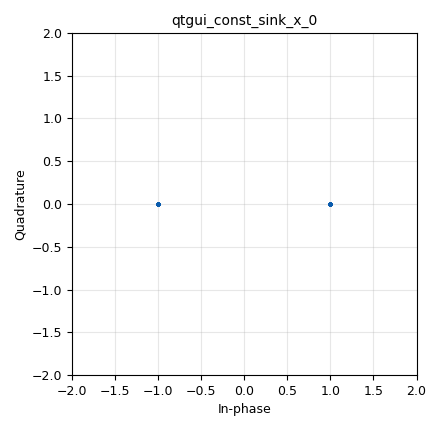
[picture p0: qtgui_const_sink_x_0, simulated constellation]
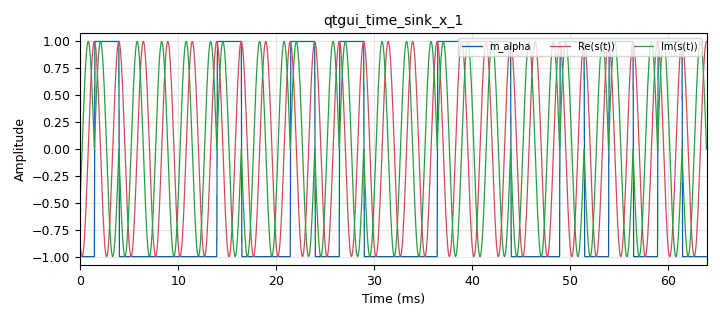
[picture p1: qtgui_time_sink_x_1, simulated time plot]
options:
  parameters:
    author: clsor
    generate_options: qt_gui
    id: BFSKHackRF_Tx_NONcoherent
    output_language: python
    title: Not titled yet
  states: {}

blocks:
- name: M
  id: variable
  parameters:
    value: '2'
  states: {}
- name: Pn
  id: variable_qtgui_range
  parameters:
    gui_hint: 2,0,1,1
    label: Potentiel of the noise
    start: '0'
    step: 1/100
    stop: '1'
    value: '0'
  states: {state: disabled}
- name: Rb
  id: variable
  parameters:
    value: '400'
  states: {}
- name: Rs
  id: variable
  parameters:
    value: Rb/bps
  states: {}
- name: Sps
  id: variable
  parameters:
    value: '40'
  states: {}
- name: bps
  id: variable
  parameters:
    value: int(math.log(M,2))
  states: {}
- name: bw
  id: variable
  parameters:
    value: (2**m)*Rb/m
  states: {}
- name: center_freq
  id: variable
  parameters:
    value: '100000'
  states: {}
- name: eb_n0_dB
  id: variable
  parameters:
    value: '10'
  states: {}
- name: fsk_deviation
  id: variable
  parameters:
    value: bw/2
  states: {}
- name: m
  id: variable
  parameters:
    value: '1'
  states: {}
- name: ndisp
  id: variable
  parameters:
    value: '2000'
  states: {}
- name: num_samples
  id: variable
  parameters:
    value: '100000'
  states: {}
- name: samp_rate
  id: variable
  parameters:
    value: Sps*Rb
  states: {}
- name: sig_power
  id: variable
  parameters:
    value: '1'
  states: {}
- name: symbol_rate
  id: variable
  parameters:
    value: samp_rate/Sps
  states: {}
- name: analog_frequency_modulator_fc_0
  id: analog_frequency_modulator_fc
  parameters:
    sensitivity: (2*math.pi*fsk_deviation)/samp_rate
  states: {}
- name: analog_noise_source_x_0
  id: analog_noise_source_x
  parameters:
    amp: math.sqrt( sig_power/ (10**(eb_n0_dB/10)) * samp_rate/symbol_rate )
    noise_type: analog.GR_GAUSSIAN
    seed: '0'
    type: complex
  states: {}
- name: analog_random_source_x_0
  id: analog_random_source_x
  parameters:
    comment: Bits Generation
    max: '2'
    min: '0'
    num_samps: num_samples
    repeat: 'False'
    type: byte
  states: {}
- name: blocks_add_const_vxx_0
  id: blocks_add_const_vxx
  parameters:
    const: '-1'
    type: float
  states: {}
- name: blocks_add_xx_1
  id: blocks_add_xx
  parameters:
    type: complex
  states: {}
- name: blocks_char_to_float_0
  id: blocks_char_to_float
  parameters:
    scale: '0.5'
  states: {}
- name: blocks_complex_to_float_0
  id: blocks_complex_to_float
  parameters: {}
  states: {}
- name: blocks_float_to_complex_0
  id: blocks_float_to_complex
  parameters: {}
  states: {}
- name: blocks_null_sink_0
  id: blocks_null_sink
  parameters:
    type: complex
  states: {state: disabled}
- name: blocks_repeat_0
  id: blocks_repeat
  parameters:
    interp: Sps
    type: float
  states: {}
- name: blocks_stream_mux_1
  id: blocks_stream_mux
  parameters:
    lengths: '[16,num_samples]'
    type: byte
  states: {}
- name: blocks_throttle2_0
  id: blocks_throttle2
  parameters:
    samples_per_second: samp_rate
    type: complex
  states: {}
- name: blocks_vector_source_x_0
  id: blocks_vector_source_x
  parameters:
    repeat: 'False'
    type: byte
    vector: (1,0, 1, 0, 1, 0, 1, 0, 1,0 ,1,0,  1,0, 1,0)
  states: {}
- name: import_0
  id: import
  parameters:
    imports: import math
  states: {}
- name: qtgui_const_sink_x_0
  id: qtgui_const_sink_x
  parameters:
    size: '1024'
    type: complex
  states: {}
- name: qtgui_time_sink_x_1
  id: qtgui_time_sink_x
  parameters:
    label1: m_alpha
    label2: Re(s(t))
    label3: Im(s(t))
    nconnections: '3'
    size: '1024'
    srate: samp_rate
    type: float
  states: {}
- name: soapy_hackrf_sink_1
  id: soapy_hackrf_sink
  parameters:
    center_freq: center_freq
    samp_rate: samp_rate
    type: fc32
  states: {}
- name: virtual_sink_0_0_0_1_0
  id: virtual_sink
  parameters:
    stream_id: t
  states: {}

connections:
- [analog_frequency_modulator_fc_0, '0', blocks_add_xx_1, '0']
- [analog_frequency_modulator_fc_0, '0', blocks_complex_to_float_0, '0']
- [analog_noise_source_x_0, '0', blocks_throttle2_0, '0']
- [analog_random_source_x_0, '0', blocks_stream_mux_1, '1']
- [blocks_add_const_vxx_0, '0', blocks_float_to_complex_0, '0']
- [blocks_add_const_vxx_0, '0', blocks_repeat_0, '0']
- [blocks_add_xx_1, '0', blocks_null_sink_0, '0']
- [blocks_add_xx_1, '0', soapy_hackrf_sink_1, '0']
- [blocks_char_to_float_0, '0', blocks_add_const_vxx_0, '0']
- [blocks_complex_to_float_0, '0', qtgui_time_sink_x_1, '1']
- [blocks_complex_to_float_0, '1', qtgui_time_sink_x_1, '2']
- [blocks_float_to_complex_0, '0', qtgui_const_sink_x_0, '0']
- [blocks_repeat_0, '0', analog_frequency_modulator_fc_0, '0']
- [blocks_repeat_0, '0', qtgui_time_sink_x_1, '0']
- [blocks_stream_mux_1, '0', blocks_char_to_float_0, '0']
- [blocks_stream_mux_1, '0', virtual_sink_0_0_0_1_0, '0']
- [blocks_throttle2_0, '0', blocks_add_xx_1, '1']
- [blocks_vector_source_x_0, '0', blocks_stream_mux_1, '0']

metadata:
  file_format: 1
  grc_version: 3.10.10.0
